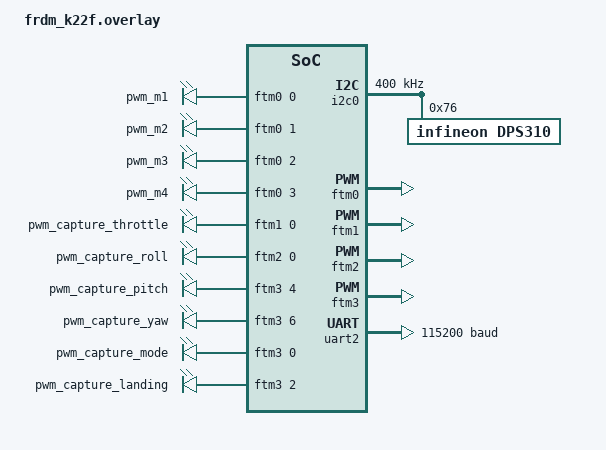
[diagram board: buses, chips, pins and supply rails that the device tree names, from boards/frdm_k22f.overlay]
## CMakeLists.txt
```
# CMakeLists.txt for Zephyr Quadcopter Application
cmake_minimum_required(VERSION 3.20.0)

find_package(Zephyr REQUIRED HINTS $ENV{ZEPHYR_BASE})
project(quadcopter_flight_controller)

target_sources(app PRIVATE src/main.c src/pid_control.c)
target_sources_ifdef(CONFIG_FLIGHT_CTL_RC_IBUS app PRIVATE src/ibus.c)
```

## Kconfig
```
# Kconfig - Application Configuration
mainmenu "Zephyr Quadcopter Flight Controller Configuration"

config FLIGHT_CTL_HAS_BARO
    bool "Enable Barometer and Altitude Control Subsystem"
    default n
    select SENSOR
    select DPS310
    help
      Enables the Infineon DPS310 barometer device binding, relative altitude 
      estimation, Z-axis PID tracking, and the automated landing assist state machine.
config FLIGHT_CTL_RC_IBUS
    bool "Use iBUS serial protocol for RC input (instead of PWM capture)"
    default n
    help
      When enabled, RC channel data is received via iBUS protocol on UART2
      (115200 baud, single wire). Supports up to 14 channels. When disabled,
      individual PWM capture inputs on FTM1/FTM2 are used for each channel.

config MAGNETOMETER_ENABLED
    bool "Enable Magnetometer and 9-Axis AHRS Fusion"
    default y
    help
      Enables reading magnetometer values from the FXOS8700 device and feeding
      them to the Mahony filter to compute a yaw drift-compensated orientation.

config MAG_CALIBRATION_BG_THREAD
    bool "Enable background magnetometer calibration thread"
    default y
    depends on MAGNETOMETER_ENABLED
    help
      Spawns a background thread at startup that gathers magnetometer data over 
      time to compute hard-iron offsets.

config MAG_CALIBRATION_RUNTIME
    bool "Enable runtime magnetometer calibration via shell command"
    default y
    depends on MAGNETOMETER_ENABLED
    select SHELL
    help
      Enables the 'mag_calib' shell command to trigger magnetometer
      calibration at runtime.

config PID_RATE_MOTOR_LIMIT
    int "PID Rate Loops Motor Output Limit"
    default 400
    help
      Clamps the output of the rate (inner) PID loops (Roll/Pitch/Yaw) to this value.
      Limits the maximum correction applied directly to the motor ESC pulses in microseconds.
      Set to 0 to disable.

config PID_ANGLE_RATE_LIMIT
    int "PID Angle Loops Target Rate Limit"
    default 200
    help
      Clamps the output of the angle (outer) PID loops to this value.
      Limits the target angular rate (in degrees per second) sent to the rate loops.
      Set to 0 to disable.

config PID_ALTITUDE_THROTTLE_LIMIT
    int "PID Altitude Loop Throttle Offset Limit"
    default 200
    help
      Clamps the output of the altitude PID loop to this value.
      Limits the maximum throttle adjustment offset (in microseconds) added to base hover throttle.
      Set to 0 to disable.

source "Kconfig.zephyr"
```

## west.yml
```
manifest:
  remotes:
    - name: zephyrproject-rtos
      url-base: https://github.com/zephyrproject-rtos

  projects:
    - name: zephyr
      remote: zephyrproject-rtos
      revision: 7f372bfc28a895f2b7641c1fc80f19f607e30e23 # Matches current workspace version (v4.4.0 tag/branch)
      import:
        # Import Zephyr's standard modules list, but limit downloading to
        # only the dependencies required for this board and application.
        name-allowlist:
          - cmsis_6        # Required for Cortex-M CMSIS core wrapper headers
          - cmsis-dsp      # Required for CMSIS-DSP fast math and PID control
          - hal_nxp        # Required for Kinetis clock and pin configurations
          - mcux-sdk-ng    # MCUXpresso SDK for NXP peripherals

  self:
    path: quad-app
```

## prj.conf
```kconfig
# Core Kernel Tuning
CONFIG_PRINTK=y
CONFIG_CBPRINTF_FP_SUPPORT=y
CONFIG_FPU=y
CONFIG_NUM_PREEMPT_PRIORITIES=15
CONFIG_MAIN_STACK_SIZE=2048

# Hardware Drivers
CONFIG_I2C=y
CONFIG_PWM=y
CONFIG_PWM_CAPTURE=y

# FRDM-STBC-AGM01 Shield Drivers
CONFIG_SENSOR=y
CONFIG_FXOS8700=y
CONFIG_FXAS21002=y

# Top-level master switch for altitude features (Set to y if using Baro)
CONFIG_FLIGHT_CTL_HAS_BARO=n

# Defer logging tasks to background queues to protect the 400Hz path
CONFIG_LOG=y
CONFIG_LOG_MODE_DEFERRED=y
CONFIG_LOG_BUFFER_SIZE=4096

# CMSIS-DSP Acceleration
CONFIG_CMSIS_DSP=y
CONFIG_CMSIS_DSP_CONTROLLER=y
CONFIG_CMSIS_DSP_FASTMATH=y
```

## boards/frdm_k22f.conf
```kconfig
CONFIG_I2C=y
CONFIG_SYS_CLOCK_HW_CYCLES_PER_SEC=72000000
CONFIG_SOC_SERIES_KINETIS_K2X=y
CONFIG_OSC_LOW_POWER=y
CONFIG_FXAS21002=y
CONFIG_FXAS21002_TRIGGER_OWN_THREAD=y
CONFIG_FXOS8700=y
CONFIG_FXOS8700_MODE_HYBRID=y
CONFIG_FXOS8700_TEMP=y
CONFIG_FXOS8700_TRIGGER_OWN_THREAD=y
```

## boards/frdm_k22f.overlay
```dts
/ {
    chosen {
        zephyr,console = &uart1;
        zephyr,shell-uart = &uart1;
        quad-ibus-uart = &uart2;
        flt_ctl,gyro = &fxas21002_frdm_stbc_agm01;
        flt_ctl,accel = &fxos8700;
        flt_ctl,baro = &dps310;
    };

    /* Define convenient aliases for our 4 quadcopter motors and RC inputs */
    aliases {
        motor-front-left  = &pwm_m1;
        motor-front-right = &pwm_m2;
        motor-rear-left   = &pwm_m3;
        motor-rear-right  = &pwm_m4;
        rc-throttle       = &pwm_capture_throttle;
        rc-roll           = &pwm_capture_roll;
        rc-pitch          = &pwm_capture_pitch;
        rc-yaw            = &pwm_capture_yaw;
        rc-mode           = &pwm_capture_mode;
        rc-landing        = &pwm_capture_landing;
    };

    quad_motors {
        compatible = "pwm-leds";
        pwm_m1: motor_1 {
            pwms = <&ftm0 0 PWM_HZ(400) PWM_POLARITY_NORMAL>; // PTC1 (FTM0_CH0)
        };
        pwm_m2: motor_2 {
            pwms = <&ftm0 1 PWM_HZ(400) PWM_POLARITY_NORMAL>; // PTC2 (FTM0_CH1)
        };
        pwm_m3: motor_3 {
            pwms = <&ftm0 2 PWM_HZ(400) PWM_POLARITY_NORMAL>; // PTC3 (FTM0_CH2)
        };
        pwm_m4: motor_4 {
            pwms = <&ftm0 3 PWM_HZ(400) PWM_POLARITY_NORMAL>; // PTC4 (FTM0_CH3)
        };
    };

    rc_inputs {
        compatible = "pwm-leds";
        /* FTM1_CH0 - Mapped to Pin PTA12 for Throttle Input Capture */
        pwm_capture_throttle: rx_ch1 {
            pwms = <&ftm1 0 PWM_USEC(2000) PWM_POLARITY_NORMAL>;
        };
        /* FTM2_CH0 - Mapped to Pin PTB18 for Roll Input Capture */
        pwm_capture_roll: rx_ch2 {
            pwms = <&ftm2 0 PWM_USEC(2000) PWM_POLARITY_NORMAL>;
        };
        /* FTM3_CH4 - Mapped to Pin PTC8 for Pitch Input Capture */
        pwm_capture_pitch: rx_ch3 {
            pwms = <&ftm3 4 PWM_USEC(2000) PWM_POLARITY_NORMAL>;
        };
        /* FTM3_CH6 - Mapped to Pin PTC10 for Yaw Input Capture */
        pwm_capture_yaw: rx_ch4 {
            pwms = <&ftm3 6 PWM_USEC(2000) PWM_POLARITY_NORMAL>;
        };
        /* FTM3_CH0 - Mapped to Pin PTD0 for Mode Switch Input Capture */
        pwm_capture_mode: rx_ch5 {
            pwms = <&ftm3 0 PWM_USEC(2000) PWM_POLARITY_NORMAL>;
        };
        /* FTM3_CH2 - Mapped to Pin PTD2 for Landing Switch Input Capture */
        pwm_capture_landing: rx_ch6 {
            pwms = <&ftm3 2 PWM_USEC(2000) PWM_POLARITY_NORMAL>;
        };
    };
};

/* Multi-Group Pin Routing Profiles using verified macro naming schemas */
&pinctrl {
    ftm0_default: ftm0_default {
        group0 {
            pinmux = <FTM0_CH0_PTC1>;
            drive-strength = "low";
            slew-rate = "fast";
        };
        group1 {
            pinmux = <FTM0_CH1_PTC2>;
            drive-strength = "low";
            slew-rate = "fast";
        };
        group2 {
            pinmux = <FTM0_CH2_PTC3>;
            drive-strength = "low";
            slew-rate = "fast";
        };
        group3 {
            pinmux = <FTM0_CH3_PTC4>;
            drive-strength = "low";
            slew-rate = "fast";
        };
    };

    ftm1_default: ftm1_default {
        group0 {
            pinmux = <FTM1_CH0_PTA12>;
            drive-strength = "low";
            slew-rate = "fast";
            bias-pull-up; /* Pull-up enabled specifically for input signal tracking */
        };
    };

    ftm2_default: ftm2_default {
        group0 {
            pinmux = <FTM2_CH0_PTB18>;
            drive-strength = "low";
            slew-rate = "fast";
            bias-pull-up; /* Pull-up enabled specifically for input signal tracking */
        };
    };

    ftm3_default: ftm3_default {
        group0 {
            pinmux = <FTM3_CH0_PTD0>;
            drive-strength = "low";
            slew-rate = "fast";
            bias-pull-up; /* Pull-up enabled specifically for input signal tracking */
        };
        group1 {
            pinmux = <FTM3_CH4_PTC8>;
            drive-strength = "low";
            slew-rate = "fast";
            bias-pull-up;
        };
        group2 {
            pinmux = <FTM3_CH6_PTC10>;
            drive-strength = "low";
            slew-rate = "fast";
            bias-pull-up;
        };
        group3 {
            pinmux = <FTM3_CH2_PTD2>;
            drive-strength = "low";
            slew-rate = "fast";
            bias-pull-up;
        };
    };
};

&i2c0 {
    status = "okay";
    pinctrl-0 = <&i2c0_default>;
    pinctrl-names = "default";
    clock-frequency = <I2C_BITRATE_FAST>; // 400kHz

    dps310: dps310@76 {
        compatible = "infineon,dps310";
        reg = <0x76>;
        status = "okay";
    };
};

/* FlexTimer Blocks updated for Zephyr 3-Cell PWM Driver Compatibility */
&ftm0 {
    status = "okay";
    compatible = "nxp,ftm-pwm";
    clock-source = "system";
    #pwm-cells = <3>;
    pinctrl-0 = <&ftm0_default>;
    pinctrl-names = "default";
};

&ftm1 {
    status = "okay";
    compatible = "nxp,ftm-pwm";
    clock-source = "system";
    #pwm-cells = <3>;
    pinctrl-0 = <&ftm1_default>;
    pinctrl-names = "default";
};

&ftm2 {
    status = "okay";
    compatible = "nxp,ftm-pwm";
    clock-source = "system";
    #pwm-cells = <3>;
    pinctrl-0 = <&ftm2_default>;
    pinctrl-names = "default";
};

&ftm3 {
    status = "okay";
    reg = <0x40026000 0x98>; // OVERRIDE: Fix upstream Zephyr bug where FTM3 address is wrong for K22F
    compatible = "nxp,ftm-pwm";
    clock-source = "system";
    #pwm-cells = <3>;
    pinctrl-0 = <&ftm3_default>;
    pinctrl-names = "default";
};

/* iBUS RC receiver UART (115200 baud on PTD2/RX, PTD3/TX) */
&uart2 {
    status = "okay";
    current-speed = <115200>;
};
```

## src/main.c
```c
#include <zephyr/kernel.h>
#include <zephyr/device.h>
#include <zephyr/drivers/sensor.h>
#include <zephyr/drivers/pwm.h>
#include <zephyr/logging/log.h>
#include <math.h>

#include "mahony.h"
#include "pid_control.h"

#if IS_ENABLED(CONFIG_CMSIS_DSP)
#include <arm_math.h>
#endif
#ifndef M_PI
#define M_PI 3.14159265358979323846f
#endif
#if IS_ENABLED(CONFIG_FLIGHT_CTL_RC_IBUS)
#include "ibus.h"
#endif

LOG_MODULE_REGISTER(flight_blackbox, CONFIG_LOG_DEFAULT_LEVEL);

#define FLIGHT_LOOP_PRIORITY   -1  /* High-priority cooperative thread */
#define FLIGHT_LOOP_PERIOD_MS  2.5f
#define DT_SEC                 0.0025f

#define MOTOR_MIN_PULSE_US     1000
#define MOTOR_MAX_PULSE_US     2000
#define BASE_HOVER_THROTTLE    1450

#define DESCENT_RATE_MPS       0.2f
#define LANDING_THRESHOLD_M    0.1f  

typedef enum {
    STATE_DISARMED,
    STATE_MANUAL_FLYING,
    STATE_ALT_HOLD,
    STATE_LANDING
} flight_state_t;

static flight_state_t current_state = STATE_MANUAL_FLYING;

static pid_controller_t roll_pid;
static pid_controller_t pitch_pid;
static pid_controller_t yaw_pid;
static pid_controller_t angle_pid_roll;
static pid_controller_t angle_pid_pitch;

typedef enum {
    FLIGHT_MODE_ACRO,
    FLIGHT_MODE_ANGLE,
    FLIGHT_MODE_HORIZON
} flight_mode_t;

static flight_mode_t current_flight_mode = FLIGHT_MODE_ACRO;
static float est_roll  = 0.0f;
static float est_pitch = 0.0f;

#if IS_ENABLED(CONFIG_FLIGHT_CTL_HAS_BARO)
static pid_controller_t alt_pid;
static float target_altitude      = 1.5f; 
static float current_alt          = 0.0f;
#endif

#if IS_ENABLED(CONFIG_MAGNETOMETER_ENABLED)
static volatile float raw_mag_x = 0.0f;
static volatile float raw_mag_y = 0.0f;
static volatile float raw_mag_z = 0.0f;

static float mag_offset_x = 0.0f;
static float mag_offset_y = 0.0f;
static float mag_offset_z = 0.0f;
static bool mag_calibrated = false;

static struct k_sem mag_calib_sem;
static volatile bool mag_calibrating = false;
#endif

static float target_throttle = (float)MOTOR_MIN_PULSE_US;
static float target_roll     = 0.0f;
static float target_pitch    = 0.0f;
static float target_yaw      = 0.0f;

static const struct pwm_dt_spec motor_fl = PWM_DT_SPEC_GET(DT_ALIAS(motor_front_left));
static const struct pwm_dt_spec motor_fr = PWM_DT_SPEC_GET(DT_ALIAS(motor_front_right));
static const struct pwm_dt_spec motor_rl = PWM_DT_SPEC_GET(DT_ALIAS(motor_rear_left));
static const struct pwm_dt_spec motor_rr = PWM_DT_SPEC_GET(DT_ALIAS(motor_rear_right));

#if IS_ENABLED(CONFIG_FLIGHT_CTL_RC_IBUS)
static const struct device *const ibus_uart = DEVICE_DT_GET(DT_CHOSEN(quad_ibus_uart));
#else
static const struct pwm_dt_spec rc_throttle = PWM_DT_SPEC_GET(DT_ALIAS(rc_throttle));
static const struct pwm_dt_spec rc_roll     = PWM_DT_SPEC_GET(DT_ALIAS(rc_roll));
static const struct pwm_dt_spec rc_pitch    = PWM_DT_SPEC_GET(DT_ALIAS(rc_pitch));
static const struct pwm_dt_spec rc_yaw      = PWM_DT_SPEC_GET(DT_ALIAS(rc_yaw));
static const struct pwm_dt_spec rc_mode     = PWM_DT_SPEC_GET(DT_ALIAS(rc_mode));
static const struct pwm_dt_spec rc_landing  = PWM_DT_SPEC_GET(DT_ALIAS(rc_landing));
#endif

static const struct device *const gyro_dev  = DEVICE_DT_GET(DT_CHOSEN(flt_ctl_gyro));
static const struct device *const accel_dev = DEVICE_DT_GET(DT_CHOSEN(flt_ctl_accel));

#if IS_ENABLED(CONFIG_FLIGHT_CTL_HAS_BARO)
static const struct device *const baro_dev  = DEVICE_DT_GET(DT_CHOSEN(flt_ctl_baro));
#endif


#if !IS_ENABLED(CONFIG_FLIGHT_CTL_RC_IBUS)
static volatile int64_t last_rc_update_time = 0;

static void rc_capture_cb(const struct device *dev, uint32_t channel,
                          uint32_t period_cycles, uint32_t pulse_cycles,
                          int status, void *user_data)
{
    if (status == 0) {
        volatile uint16_t *target_val = (volatile uint16_t *)user_data;
        uint64_t pulse_us;
        if (pwm_cycles_to_usec(dev, channel, pulse_cycles, &pulse_us) == 0) {
            if (pulse_us >= MOTOR_MIN_PULSE_US && pulse_us <= MOTOR_MAX_PULSE_US) {
                *target_val = (uint16_t)pulse_us;
                last_rc_update_time = k_uptime_get();
            }
        }
    }
}
#endif

#if IS_ENABLED(CONFIG_MAGNETOMETER_ENABLED)
void mag_calibration_thread(void *p1, void *p2, void *p3)
{
    k_sem_init(&mag_calib_sem, 0, 1);

#if IS_ENABLED(CONFIG_MAG_CALIBRATION_BG_THREAD)
    k_sleep(K_MSEC(3000));
    k_sem_give(&mag_calib_sem);
#endif

    while (1) {
        k_sem_take(&mag_calib_sem, K_FOREVER);
        mag_calibrating = true;
        LOG_INF("Magnetometer calibration started. Please rotate the device slowly in all directions...");

        float m_min[3] = {999999.0f, 999999.0f, 999999.0f};
        float m_max[3] = {-999999.0f, -999999.0f, -999999.0f};

        for (int i = 0; i < 300; i++) {
            float mx = raw_mag_x;
            float my = raw_mag_y;
            float mz = raw_mag_z;

            if (mx < m_min[0]) m_min[0] = mx;
            if (my < m_min[1]) m_min[1] = my;
            if (mz < m_min[2]) m_min[2] = mz;

            if (mx > m_max[0]) m_max[0] = mx;
            if (my > m_max[1]) m_max[1] = my;
            if (mz > m_max[2]) m_max[2] = mz;

            k_msleep(50);
        }

        float diff_x = m_max[0] - m_min[0];
        float diff_y = m_max[1] - m_min[1];
        float diff_z = m_max[2] - m_min[2];

        if (diff_x > 0.02f && diff_y > 0.02f && diff_z > 0.02f) {
            mag_offset_x = (m_max[0] + m_min[0]) / 2.0f;
            mag_offset_y = (m_max[1] + m_min[1]) / 2.0f;
            mag_offset_z = (m_max[2] + m_min[2]) / 2.0f;
            mag_calibrated = true;
            LOG_INF("Magnetometer calibration complete! Offsets: X=%f, Y=%f, Z=%f",
                    (double)mag_offset_x, (double)mag_offset_y, (double)mag_offset_z);
        } else {
            LOG_WRN("Magnetometer calibration failed: insufficient movement. Offsets unchanged.");
        }
        mag_calibrating = false;
    }
}

K_THREAD_DEFINE(mag_calib_id, 1024, mag_calibration_thread, NULL, NULL, NULL,
                5, 0, 0);

#if IS_ENABLED(CONFIG_MAG_CALIBRATION_RUNTIME)
#include <zephyr/shell/shell.h>

static int cmd_mag_calib(const struct shell *sh, size_t argc, char **argv)
{
    if (mag_calibrating) {
        shell_print(sh, "Magnetometer calibration is already in progress.");
        return -EBUSY;
    }
    shell_print(sh, "Triggering magnetometer calibration...");
    k_sem_give(&mag_calib_sem);
    return 0;
}

SHELL_CMD_REGISTER(mag_calib, NULL, "Trigger magnetometer calibration", cmd_mag_calib);
#endif
#endif

void flight_control_thread(void *p1, void *p2, void *p3)
{
    struct sensor_value gyro_data[3];
    struct sensor_value accel_data[3];
    float roll_rate, pitch_rate, yaw_rate;
    float accel_x, accel_y, accel_z;
    uint32_t log_divider = 0;

#if !IS_ENABLED(CONFIG_FLIGHT_CTL_RC_IBUS)
    static volatile uint16_t rc_throttle_val = 1000;
    static volatile uint16_t rc_roll_val     = 1500;
    static volatile uint16_t rc_pitch_val    = 1500;
    static volatile uint16_t rc_yaw_val      = 1500;
    static volatile uint16_t rc_mode_val     = 1500;
    static volatile uint16_t rc_landing_val  = 1000;
#endif

    if (!device_is_ready(motor_fl.dev) || !device_is_ready(motor_fr.dev) ||
        !device_is_ready(motor_rl.dev) || !device_is_ready(motor_rr.dev)) {
        LOG_ERR("PWM motor outputs are not ready!");
        return;
    }
    if (!device_is_ready(gyro_dev) || !device_is_ready(accel_dev)) {
        LOG_ERR("NXP Motion Sensor Shield IMU units are not ready!");
        return;
    }
#if IS_ENABLED(CONFIG_FLIGHT_CTL_HAS_BARO)
    if (!device_is_ready(baro_dev)) {
        LOG_ERR("DPS310 Barometer sensor node is not ready!");
        return;
    }
#endif
#if IS_ENABLED(CONFIG_FLIGHT_CTL_RC_IBUS)
    if (ibus_init(ibus_uart) != 0) {
        LOG_ERR("iBUS receiver failed to initialize!");
        return;
    }
#else
    pwm_flags_t cap_flags = PWM_POLARITY_NORMAL | PWM_CAPTURE_TYPE_PULSE | PWM_CAPTURE_MODE_CONTINUOUS;

    pwm_configure_capture(rc_throttle.dev, rc_throttle.channel, cap_flags, rc_capture_cb, (void*)&rc_throttle_val);
    pwm_enable_capture(rc_throttle.dev, rc_throttle.channel);

    pwm_configure_capture(rc_roll.dev, rc_roll.channel, cap_flags, rc_capture_cb, (void*)&rc_roll_val);
    pwm_enable_capture(rc_roll.dev, rc_roll.channel);

    pwm_configure_capture(rc_pitch.dev, rc_pitch.channel, cap_flags, rc_capture_cb, (void*)&rc_pitch_val);
    pwm_enable_capture(rc_pitch.dev, rc_pitch.channel);

    pwm_configure_capture(rc_yaw.dev, rc_yaw.channel, cap_flags, rc_capture_cb, (void*)&rc_yaw_val);
    pwm_enable_capture(rc_yaw.dev, rc_yaw.channel);

    pwm_configure_capture(rc_mode.dev, rc_mode.channel, cap_flags, rc_capture_cb, (void*)&rc_mode_val);
    pwm_enable_capture(rc_mode.dev, rc_mode.channel);

    pwm_configure_capture(rc_landing.dev, rc_landing.channel, cap_flags, rc_capture_cb, (void*)&rc_landing_val);
    pwm_enable_capture(rc_landing.dev, rc_landing.channel);
#endif

    pid_init(&roll_pid, 1.2f, 0.05f, 0.12f, DT_SEC, (float)CONFIG_PID_RATE_MOTOR_LIMIT);
    pid_init(&pitch_pid, 1.2f, 0.05f, 0.12f, DT_SEC, (float)CONFIG_PID_RATE_MOTOR_LIMIT);
    pid_init(&yaw_pid, 2.0f, 0.10f, 0.05f, DT_SEC, (float)CONFIG_PID_RATE_MOTOR_LIMIT);

    pid_init(&angle_pid_roll, 4.0f, 0.05f, 0.1f, DT_SEC, (float)CONFIG_PID_ANGLE_RATE_LIMIT);
    pid_init(&angle_pid_pitch, 4.0f, 0.05f, 0.1f, DT_SEC, (float)CONFIG_PID_ANGLE_RATE_LIMIT);

#if IS_ENABLED(CONFIG_FLIGHT_CTL_HAS_BARO)
    pid_init(&alt_pid, 2.5f, 0.15f, 0.45f, DT_SEC, (float)CONFIG_PID_ALTITUDE_THROTTLE_LIMIT);
#endif

    LOG_INF("Starting IMU Gyro Calibration. Please keep the drone perfectly still...");
    float gyro_bias_roll = 0.0f, gyro_bias_pitch = 0.0f, gyro_bias_yaw = 0.0f;
    const int calib_samples = 200; // 2 seconds at 10ms per loop
    for (int i = 0; i < calib_samples; i++) {
        sensor_sample_fetch(gyro_dev);
        sensor_channel_get(gyro_dev, SENSOR_CHAN_GYRO_XYZ, gyro_data);
        gyro_bias_roll  += (float)sensor_value_to_double(&gyro_data[0]);
        gyro_bias_pitch += (float)sensor_value_to_double(&gyro_data[1]);
        gyro_bias_yaw   += (float)sensor_value_to_double(&gyro_data[2]);

        // Also fetch accelerometer to allow the Mahony filter to align with gravity
        sensor_sample_fetch(accel_dev);
        sensor_channel_get(accel_dev, SENSOR_CHAN_ACCEL_XYZ, accel_data);
        float ax = (float)sensor_value_to_double(&accel_data[0]);
        float ay = (float)sensor_value_to_double(&accel_data[1]);
        float az = (float)sensor_value_to_double(&accel_data[2]);
        mahony_update(0.0f, 0.0f, 0.0f, ax, ay, az, 0.0f, 0.0f, 0.0f, 0.01f);

        k_sleep(K_MSEC(10));
    }
    gyro_bias_roll  /= (float)calib_samples;
    gyro_bias_pitch /= (float)calib_samples;
    gyro_bias_yaw   /= (float)calib_samples;
    LOG_INF("Calibration Complete. Biases - Roll: %f, Pitch: %f, Yaw: %f", (double)gyro_bias_roll, (double)gyro_bias_pitch, (double)gyro_bias_yaw);

    LOG_INF("Quadcopter Flight Control Workspace Online. Starting loop...");

    while (1) {
        int64_t start_time = k_uptime_get();

        uint16_t mode_switch_val = 1500;
        uint16_t landing_switch_val = 1000;

        /* 1. PILOT RADIO RECEIVER INPUT */
#if IS_ENABLED(CONFIG_FLIGHT_CTL_RC_IBUS)
        /* iBUS: All channels from a single UART stream */
        target_throttle = (float)ibus_channel(2);                    /* CH3 = Throttle */
        target_roll     = ((float)ibus_channel(0) - 1500.0f) * 0.1f; /* CH1 = Roll     */
        target_pitch    = ((float)ibus_channel(1) - 1500.0f) * 0.1f; /* CH2 = Pitch    */
        target_yaw      = ((float)ibus_channel(3) - 1500.0f) * 0.1f; /* CH4 = Yaw      */
        mode_switch_val = ibus_channel(4);                           /* CH5 = Mode     */
        landing_switch_val = ibus_channel(5);                        /* CH6 = Landing  */

        /* iBUS Failsafe: check for link loss */
        if (!ibus_is_active()) {
            if (current_state == STATE_MANUAL_FLYING || current_state == STATE_ALT_HOLD) {
                LOG_WRN("Failsafe triggered! iBUS signal lost.");
                current_state = STATE_LANDING;
            }
        }
#else
        /* PWM Capture (Continuous Interrupt-Driven): Read from volatile memory */
        target_throttle = (float)rc_throttle_val;
        target_roll     = ((float)rc_roll_val - 1500.0f) * 0.1f; 
        target_pitch    = ((float)rc_pitch_val - 1500.0f) * 0.1f;
        target_yaw      = ((float)rc_yaw_val - 1500.0f) * 0.1f;
        mode_switch_val = rc_mode_val;
        landing_switch_val = rc_landing_val;

        /* Failsafe Check */
        if (k_uptime_get() - last_rc_update_time > 500) {
            if (current_state == STATE_MANUAL_FLYING || current_state == STATE_ALT_HOLD) {
                LOG_WRN("Failsafe triggered! RC signal lost.");
                current_state = STATE_LANDING;
            }
        }
#endif

        if (landing_switch_val > 1700) {
            if (current_state == STATE_MANUAL_FLYING || current_state == STATE_ALT_HOLD) {
                LOG_INF("Landing switch triggered.");
                current_state = STATE_LANDING;
            }
        }

        /* 2. IMU SENSOR FETCH (FXAS21002 GYRO & FXOS8700 ACCEL) */
        sensor_sample_fetch(gyro_dev);
        sensor_channel_get(gyro_dev, SENSOR_CHAN_GYRO_XYZ, gyro_data);
        float gx = (float)sensor_value_to_double(&gyro_data[0]) - gyro_bias_roll;
        float gy = (float)sensor_value_to_double(&gyro_data[1]) - gyro_bias_pitch;
        float gz = (float)sensor_value_to_double(&gyro_data[2]) - gyro_bias_yaw;

        sensor_sample_fetch(accel_dev);
        sensor_channel_get(accel_dev, SENSOR_CHAN_ACCEL_XYZ, accel_data);
        accel_x = (float)sensor_value_to_double(&accel_data[0]);
        accel_y = (float)sensor_value_to_double(&accel_data[1]);
        accel_z = (float)sensor_value_to_double(&accel_data[2]);

        float mx = 0.0f, my = 0.0f, mz = 0.0f;
#if IS_ENABLED(CONFIG_MAGNETOMETER_ENABLED)
        struct sensor_value mag_data[3];
        sensor_channel_get(accel_dev, SENSOR_CHAN_MAGN_XYZ, mag_data);
        raw_mag_x = (float)sensor_value_to_double(&mag_data[0]);
        raw_mag_y = (float)sensor_value_to_double(&mag_data[1]);
        raw_mag_z = (float)sensor_value_to_double(&mag_data[2]);

        if (mag_calibrated) {
            mx = raw_mag_x - mag_offset_x;
            my = raw_mag_y - mag_offset_y;
            mz = raw_mag_z - mag_offset_z;
        } else {
            mx = raw_mag_x;
            my = raw_mag_y;
            mz = raw_mag_z;
        }
#endif

        /* Mahony Filter expects rad/s */
        mahony_update(gx, gy, gz, accel_x, accel_y, accel_z, mx, my, mz, DT_SEC);
        mahony_get_euler(&est_roll, &est_pitch);

        /* Convert to deg/s for the rate PID controllers */
        roll_rate  = gx * (180.0f / M_PI);
        pitch_rate = gy * (180.0f / M_PI);
        yaw_rate   = gz * (180.0f / M_PI);

        /* 3. DISARMED CHECK */
        if (current_state == STATE_DISARMED) {
            /* Reset all integrators to prevent windup while grounded */
#if IS_ENABLED(CONFIG_CMSIS_DSP)
            arm_pid_reset_f32(&roll_pid);
            arm_pid_reset_f32(&pitch_pid);
            arm_pid_reset_f32(&yaw_pid);
#else
            roll_pid.integrator = 0.0f;
            pitch_pid.integrator = 0.0f;
            yaw_pid.integrator = 0.0f;
#endif
            /* Force all motors to idle — no PID output can override this */
            pwm_set_pulse_dt(&motor_fl, PWM_USEC(MOTOR_MIN_PULSE_US));
            pwm_set_pulse_dt(&motor_fr, PWM_USEC(MOTOR_MIN_PULSE_US));
            pwm_set_pulse_dt(&motor_rl, PWM_USEC(MOTOR_MIN_PULSE_US));
            pwm_set_pulse_dt(&motor_rr, PWM_USEC(MOTOR_MIN_PULSE_US));

            /* Downsampled disarmed log */
            if (++log_divider >= 10) {
                log_divider = 0;
                LOG_INF("ST:DISARMED | Motors idle");
            }

            int64_t elapsed = k_uptime_get() - start_time;
            if (elapsed < (int64_t)FLIGHT_LOOP_PERIOD_MS) {
                k_msleep((int32_t)(FLIGHT_LOOP_PERIOD_MS - (float)elapsed));
            }
            continue;
        }

        /* 4. CONDITIONAL ALTITUDE CONTROL / LANDING ASSIST STATE MACHINE */
        float dynamic_throttle = target_throttle;

#if IS_ENABLED(CONFIG_FLIGHT_CTL_HAS_BARO)
        struct sensor_value press_val;
        sensor_sample_fetch(baro_dev);
        sensor_channel_get(baro_dev, SENSOR_CHAN_PRESS, &press_val);
        float pressure_pa = (float)sensor_value_to_double(&press_val);

        current_alt = (44330.77f * (1.0f - powf((pressure_pa / 101325.0f), 0.190263f)));

        if (current_state == STATE_LANDING) {
            target_altitude -= DESCENT_RATE_MPS * DT_SEC;
            if (current_alt <= LANDING_THRESHOLD_M) {
                current_state = STATE_DISARMED;
            }
        }

        if (current_state == STATE_ALT_HOLD || current_state == STATE_LANDING) {
            float alt_output = pid_update(&alt_pid, target_altitude, current_alt, DT_SEC);
            dynamic_throttle = (float)BASE_HOVER_THROTTLE + alt_output;
        }
#endif

        /* 4. FLIGHT MODE LOGIC */
        if (mode_switch_val < 1300) {
            current_flight_mode = FLIGHT_MODE_ACRO;
        } else if (mode_switch_val < 1700) {
            current_flight_mode = FLIGHT_MODE_ANGLE;
        } else {
            current_flight_mode = FLIGHT_MODE_HORIZON;
        }

        float target_roll_rate  = 0.0f;
        float target_pitch_rate = 0.0f;

        if (current_flight_mode == FLIGHT_MODE_ACRO) {
            /* In Acro, stick input is directly the target rate */
            target_roll_rate  = target_roll;
            target_pitch_rate = target_pitch;
        } else if (current_flight_mode == FLIGHT_MODE_ANGLE) {
            /* In Angle, stick input is the target angle (e.g. max 45 degrees) */
            /* stick target_roll is scaled -50 to +50 approx. Scale to ±45 deg */
            float target_roll_angle  = target_roll * 0.9f;
            float target_pitch_angle = target_pitch * 0.9f;

            target_roll_rate  = pid_update(&angle_pid_roll, target_roll_angle, est_roll, DT_SEC);
            target_pitch_rate = pid_update(&angle_pid_pitch, target_pitch_angle, est_pitch, DT_SEC);
        } else if (current_flight_mode == FLIGHT_MODE_HORIZON) {
            float target_roll_angle  = target_roll * 0.9f;
            float target_pitch_angle = target_pitch * 0.9f;

            float angle_roll_rate  = pid_update(&angle_pid_roll, target_roll_angle, est_roll, DT_SEC);
            float angle_pitch_rate = pid_update(&angle_pid_pitch, target_pitch_angle, est_pitch, DT_SEC);

            /* Blend based on stick deflection. target_roll is -50 to 50 approx. */
            float blend_roll  = fabsf(target_roll) / 50.0f;
            if (blend_roll > 1.0f) blend_roll = 1.0f;
            
            float blend_pitch = fabsf(target_pitch) / 50.0f;
            if (blend_pitch > 1.0f) blend_pitch = 1.0f;

            target_roll_rate  = (1.0f - blend_roll) * angle_roll_rate + blend_roll * target_roll;
            target_pitch_rate = (1.0f - blend_pitch) * angle_pitch_rate + blend_pitch * target_pitch;
        }

        /* 5. RATE CORES AND QUADCOPTER MOTOR MIXER (X-CONFIGURATION) */
        float roll_output  = pid_update(&roll_pid, target_roll_rate, roll_rate, DT_SEC);
        float pitch_output = pid_update(&pitch_pid, target_pitch_rate, pitch_rate, DT_SEC);
        float yaw_output   = pid_update(&yaw_pid, target_yaw, yaw_rate, DT_SEC);

        float m1_fl = dynamic_throttle + roll_output - pitch_output - yaw_output;
        float m2_fr = dynamic_throttle - roll_output - pitch_output + yaw_output;
        float m3_rl = dynamic_throttle + roll_output + pitch_output + yaw_output;
        float m4_rr = dynamic_throttle - roll_output + pitch_output - yaw_output;

        uint32_t fl_pulse = (uint32_t)CLAMP(m1_fl, MOTOR_MIN_PULSE_US, MOTOR_MAX_PULSE_US);
        uint32_t fr_pulse = (uint32_t)CLAMP(m2_fr, MOTOR_MIN_PULSE_US, MOTOR_MAX_PULSE_US);
        uint32_t rl_pulse = (uint32_t)CLAMP(m3_rl, MOTOR_MIN_PULSE_US, MOTOR_MAX_PULSE_US);
        uint32_t rr_pulse = (uint32_t)CLAMP(m4_rr, MOTOR_MIN_PULSE_US, MOTOR_MAX_PULSE_US);

        pwm_set_pulse_dt(&motor_fl, PWM_USEC(fl_pulse));
        pwm_set_pulse_dt(&motor_fr, PWM_USEC(fr_pulse));
        pwm_set_pulse_dt(&motor_rl, PWM_USEC(rl_pulse));
        pwm_set_pulse_dt(&motor_rr, PWM_USEC(rr_pulse));

        /* 6. BLACKBOX LOGGING DOWN-SAMPLING (400Hz -> 40Hz) */
        if (++log_divider >= 10) {
            log_divider = 0;
            const char* mode_str = (current_flight_mode == FLIGHT_MODE_ACRO) ? "ACRO" :
                                   (current_flight_mode == FLIGHT_MODE_ANGLE) ? "ANGLE" : "HORIZON";
            const char* state_str = (current_state == STATE_DISARMED) ? "DISARMED" :
                                    (current_state == STATE_MANUAL_FLYING) ? "FLYING" :
                                    (current_state == STATE_ALT_HOLD) ? "ALTHOLD" :
                                    (current_state == STATE_LANDING) ? "LANDING" : "UNKNOWN";
#if IS_ENABLED(CONFIG_FLIGHT_CTL_HAS_BARO)
            LOG_INF("ST:%s %s | Alt:%.2fm (Tgt:%.2fm) | EstAng:(%.1f, %.1f) | Gyro:(%.1f, %.1f, %.1f) | Thr:%.0f",
                    state_str, mode_str, (double)current_alt, (double)target_altitude,
                    (double)est_roll, (double)est_pitch,
                    (double)roll_rate, (double)pitch_rate, (double)yaw_rate,
                    (double)dynamic_throttle);
#else
            LOG_INF("ST:%s %s | EstAng:(R:%.1f, P:%.1f) | Gyro:(R:%.1f, P:%.1f, Y:%.1f) | Thr:%.0f",
                    state_str, mode_str, (double)est_roll, (double)est_pitch,
                    (double)roll_rate, (double)pitch_rate,
                    (double)yaw_rate, (double)dynamic_throttle);
#endif
        }

        int64_t elapsed = k_uptime_get() - start_time;
        if (elapsed < (int64_t)FLIGHT_LOOP_PERIOD_MS) {
            k_msleep((int32_t)(FLIGHT_LOOP_PERIOD_MS - (float)elapsed));
        }
    }
}

K_THREAD_DEFINE(flight_ctl_id, 2048, flight_control_thread, NULL, NULL, NULL,
                FLIGHT_LOOP_PRIORITY, 0, 0);
```

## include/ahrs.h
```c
#ifndef ahrs_h
#define ahrs_h
#include <zephyr.h>
#include <drivers/sensor.h>
#include <stdio.h>
#include "MadgwickAHRS.h"

void RunAHRS(void);

#endif
```

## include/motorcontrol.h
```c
#ifndef motorcontrol_h
#define motorcontrol_h
#include <zephyr.h>
#include <sys/printk.h>
#include <device.h>
#include <drivers/pwm.h>

void RunMotorControl(void);

#endif
```

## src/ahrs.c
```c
#include "ahrs.h"
#include <devicetree.h>
#include <zephyr.h>
#include <drivers/sensor.h>
#include <stdio.h>
#include "MadgwickAHRS.h"
#include <logging/log.h>
#include <stdbool.h>

#define NUM_ACCEL 2
#define NUM_MAG 2
#define NUM_GYRO 1

LOG_MODULE_REGISTER(AHRS, CONFIG_SENSOR_LOG_LEVEL);

K_SEM_DEFINE(sem, 0, 1);	/* starts off "not available" */

#if !defined(CONFIG_SENSORFUSION_POLLING)
static void get_sample_trigger_handler(const struct device *dev,
			    struct sensor_trigger *trigger)
{
	if (sensor_sample_fetch(dev)) {
		printf("sensor_sample_fetch failed\n");
		return;
	}
}
#endif

void RunAHRS(void)
{
	// TODO: Ensure value doesn't become stale, somehow?
	// TODO: Move array initialization to preprocessor magic
	bool sensor_success = false;
	struct sensor_value accel[3];
	struct sensor_value mag[3];
	struct sensor_value gyro[3];
	const struct device *accels[NUM_ACCEL];
	const struct device *mags[NUM_MAG];
	const struct device *gyros[NUM_GYRO];
	accels[0] = device_get_binding(DT_LABEL(DT_INST(0, nxp_fxos8700)));
	accels[1] = device_get_binding(DT_LABEL(DT_INST(1, nxp_fxos8700)));
	mags[0] = accels[0];
	mags[1] = accels[1];
	gyros[0] = device_get_binding(DT_LABEL(DT_INST(0, nxp_fxas21002)));

	uint8_t dev_num;
	struct sensor_trigger trig;

	trig.type = SENSOR_TRIG_DATA_READY;
	trig.chan = SENSOR_CHAN_ACCEL_XYZ;
	for ( dev_num = 0; dev_num < NUM_ACCEL; dev_num++)  {
		LOG_DBG("Initializing Accelerometer %i", dev_num);
		if (accels[dev_num] == NULL) {
			printf("Could not get accelerometer device %i\n", dev_num);
			return;
		}

#if !defined(CONFIG_SENSORFUSION_POLLING)
		if (sensor_trigger_set(accels[dev_num], &trig, get_sample_trigger_handler)) {
			printf("Could not set trigger\n");
			return;
		}
#endif
	}

#ifdef CONFIG_SENSORFUSION_SEPARATE_MAG_ACCEL
	trig.type = SENSOR_TRIG_DATA_READY;
	trig.chan = SENSOR_CHAN_MAGN_XYZ;
#endif
	for ( dev_num = 0; dev_num < NUM_MAG; dev_num++)  {
		LOG_DBG("Initializing Magnetometer %i", dev_num);
		if (mags[dev_num] == NULL) {
			printf("Could not get magnetometer device %i\n", dev_num);
			return;
		}

#if defined(CONFIG_SENSORFUSION_SEPARATE_MAG_ACCEL) && !defined(CONFIG_SENSORFUSION_POLLING)
		if (sensor_trigger_set(mags[dev_num], &trig, get_sample_trigger_handler)) {
			printf("Could not set trigger\n");
			return;
		}
#endif
	}

	trig.type = SENSOR_TRIG_DATA_READY;
	trig.chan = SENSOR_CHAN_GYRO_XYZ;
	for ( dev_num = 0; dev_num < NUM_GYRO; dev_num++)  {
		LOG_DBG("Initializing Gyroscope %i", dev_num);
		if (gyros[dev_num] == NULL) {
			printf("Could not get gyroscope device %i\n", dev_num);
			return;
		}

#if !defined(CONFIG_SENSORFUSION_POLLING)
		if (sensor_trigger_set(gyros[dev_num], &trig, get_sample_trigger_handler)) {
			printf("Could not set trigger\n");
			return;
		}
#endif
	}

	LOG_DBG("Starting AHRS");

	while (1) {
		// TODO: Clear data ready if polling?
		// TODO: Synchronizing hardware data sampling may be very important to reduce drift?

		k_usleep(19530U); // 512 Hz

#ifdef CONFIG_SENSORFUSION_POLLING
		for ( dev_num = 0; dev_num < NUM_ACCEL; dev_num++)  {
			sensor_sample_fetch(accels[dev_num]);
		}
		for ( dev_num = 0; dev_num < NUM_MAG; dev_num++)  {
			sensor_sample_fetch(mags[dev_num]);
		}
		for ( dev_num = 0; dev_num < NUM_GYRO; dev_num++)  {
			sensor_sample_fetch(gyros[dev_num]);
		}
#endif
		sensor_success = false;
		for ( dev_num = 0; dev_num < NUM_ACCEL; dev_num++)  {
			if (sensor_channel_get(accels[dev_num], SENSOR_CHAN_ACCEL_XYZ, accel)) {
				LOG_ERR("Could not read from accelerometer device %i", dev_num);
			} else {
				sensor_success = true;
				break;
			}
			if (!sensor_success) {
				LOG_ERR("No accelorometer could be read");
			}
		}

		sensor_success = false;
		for ( dev_num = 0; dev_num < NUM_MAG; dev_num++)  {
			if (sensor_channel_get(mags[dev_num], SENSOR_CHAN_MAGN_XYZ, mag)) {
				LOG_ERR("Could not read from magnetometer device %i", dev_num);
			} else {
				sensor_success = true;
				break;
			}
			if (!sensor_success) {
				LOG_ERR("No magnetometer could be read");
			}
		}

		sensor_success = false;
		for ( dev_num = 0; dev_num < NUM_GYRO; dev_num++)  {
			if (sensor_channel_get(mags[dev_num], SENSOR_CHAN_MAGN_XYZ, gyro)) {
				LOG_ERR("Could not read from gyrometer device %i", dev_num);
			} else {
				sensor_success = true;
				break;
			}
			if (!sensor_success) {
				LOG_ERR("No gyrometer could be read");
			}
		}

		printf("AX=%10.6f AY=%10.6f AZ=%10.6f ",
			sensor_value_to_double(&accel[0]),
			sensor_value_to_double(&accel[1]),
			sensor_value_to_double(&accel[2]));
		printf("MX=%10.6f MY=%10.6f MZ=%10.6f ",
			sensor_value_to_double(&mag[0]),
			sensor_value_to_double(&mag[1]),
			sensor_value_to_double(&mag[2]));
		printf("GX=%10.3f GY=%10.3f GZ=%10.3f\n",
			sensor_value_to_double(&gyro[0]),
			sensor_value_to_double(&gyro[1]),
			sensor_value_to_double(&gyro[2]));
	}
}
```

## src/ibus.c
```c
/*
 * ibus.c - FlySky iBUS serial RC protocol driver
 *
 * iBUS Frame Format (32 bytes total):
 *   Byte 0:     0x20 (frame length = 32)
 *   Byte 1:     0x40 (command: channel data)
 *   Bytes 2-29: 14 channels, each as little-endian uint16_t
 *   Bytes 30-31: Checksum (little-endian), computed as
 *                0xFFFF - sum(bytes 0..29)
 *
 * Frames arrive at 115200 baud, approximately every 7ms (~140Hz).
 */

#include "ibus.h"

#include <zephyr/kernel.h>
#include <zephyr/drivers/uart.h>
#include <zephyr/logging/log.h>
#include <string.h>

LOG_MODULE_REGISTER(ibus, CONFIG_LOG_DEFAULT_LEVEL);

#define IBUS_FRAME_LEN    32
#define IBUS_HEADER_LEN   0x20
#define IBUS_HEADER_CMD   0x40
#define IBUS_CHANNEL_CENTER 1500

/* Timeout for considering the link lost */
#define IBUS_TIMEOUT_MS   500

/* Reception state machine */
static uint8_t rx_buf[IBUS_FRAME_LEN];
static uint8_t rx_idx;

/* Shared channel data (written from ISR, read from flight loop) */
static uint16_t channels[IBUS_MAX_CHANNELS];
static int64_t last_valid_frame_time;

static void ibus_process_frame(void)
{
	/* Validate header */
	if (rx_buf[0] != IBUS_HEADER_LEN || rx_buf[1] != IBUS_HEADER_CMD) {
		return;
	}

	/* Validate checksum: 0xFFFF - sum(bytes 0..29) == bytes 30..31 (LE) */
	uint16_t checksum = 0xFFFF;

	for (int i = 0; i < IBUS_FRAME_LEN - 2; i++) {
		checksum -= rx_buf[i];
	}

	uint16_t rx_checksum = (uint16_t)rx_buf[30] | ((uint16_t)rx_buf[31] << 8);

	if (checksum != rx_checksum) {
		return;
	}

	/* Extract channels (little-endian uint16_t pairs starting at byte 2) */
	for (int i = 0; i < IBUS_MAX_CHANNELS; i++) {
		uint16_t val = (uint16_t)rx_buf[2 + i * 2] |
			       ((uint16_t)rx_buf[3 + i * 2] << 8);

		/* Sanity-clamp to valid RC range */
		if (val >= 800 && val <= 2200) {
			channels[i] = val;
		}
	}

	last_valid_frame_time = k_uptime_get();
}

static void ibus_uart_isr(const struct device *dev, void *user_data)
{
	ARG_UNUSED(user_data);

	uart_irq_update(dev);

	while (uart_irq_rx_ready(dev)) {
		uint8_t byte;

		if (uart_fifo_read(dev, &byte, 1) != 1) {
			break;
		}

		if (rx_idx == 0 && byte != IBUS_HEADER_LEN) {
			/* Wait for frame start byte */
			continue;
		}

		rx_buf[rx_idx++] = byte;

		if (rx_idx >= IBUS_FRAME_LEN) {
			ibus_process_frame();
			rx_idx = 0;
		}
	}
}

int ibus_init(const struct device *uart_dev)
{
	if (!device_is_ready(uart_dev)) {
		LOG_ERR("iBUS UART device is not ready");
		return -ENODEV;
	}

	/* Initialize channels to center position */
	for (int i = 0; i < IBUS_MAX_CHANNELS; i++) {
		channels[i] = IBUS_CHANNEL_CENTER;
	}

	rx_idx = 0;
	last_valid_frame_time = 0;

	/* Configure UART interrupt-driven RX */
	uart_irq_callback_set(uart_dev, ibus_uart_isr);
	uart_irq_rx_enable(uart_dev);

	LOG_INF("iBUS receiver initialized on %s", uart_dev->name);
	return 0;
}

uint16_t ibus_channel(uint8_t ch)
{
	if (ch >= IBUS_MAX_CHANNELS) {
		return IBUS_CHANNEL_CENTER;
	}

	return channels[ch];
}

bool ibus_is_active(void)
{
	if (last_valid_frame_time == 0) {
		return false;
	}

	return (k_uptime_get() - last_valid_frame_time) < IBUS_TIMEOUT_MS;
}
```

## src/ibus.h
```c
/*
 * ibus.h - FlySky iBUS serial RC protocol driver
 *
 * Provides interrupt-driven reception of iBUS frames on a UART device.
 * Each frame carries up to 14 RC channels (1000-2000 range).
 */

#ifndef IBUS_H_
#define IBUS_H_

#include <zephyr/device.h>
#include <stdbool.h>
#include <stdint.h>

/* Maximum number of channels in an iBUS frame */
#define IBUS_MAX_CHANNELS 14

/**
 * @brief Initialize the iBUS receiver on the given UART device.
 *
 * Configures interrupt-driven RX and begins frame reception.
 *
 * @param uart_dev Pointer to the UART device (must support interrupt-driven API).
 * @return 0 on success, negative errno on failure.
 */
int ibus_init(const struct device *uart_dev);

/**
 * @brief Get the current value of an iBUS channel.
 *
 * @param ch Channel index (0-based, 0 = CH1, up to 13 = CH14).
 * @return Channel value in the range 1000-2000, or 1500 (center) if
 *         the channel index is out of range or no valid frame has been received.
 */
uint16_t ibus_channel(uint8_t ch);

/**
 * @brief Check if the iBUS receiver is actively receiving valid frames.
 *
 * @return true if a valid frame was received within the last 500ms.
 */
bool ibus_is_active(void);

#endif /* IBUS_H_ */
```

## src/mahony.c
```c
/*
 * mahony.c - Flight control Mahony 9-axis AHRS filter
 */

#include "mahony.h"
#include <math.h>

#if IS_ENABLED(CONFIG_CMSIS_DSP)
#include <arm_math.h>
#endif

float q0 = 1.0f, q1 = 0.0f, q2 = 0.0f, q3 = 0.0f;
float eIntX = 0.0f, eIntY = 0.0f, eIntZ = 0.0f;

static inline float my_sqrt(float val)
{
#if IS_ENABLED(CONFIG_CMSIS_DSP)
    float res;
    arm_sqrt_f32(val, &res);
    return res;
#else
    return sqrtf(val);
#endif
}

void mahony_reset(void)
{
    q0 = 1.0f; q1 = 0.0f; q2 = 0.0f; q3 = 0.0f;
    eIntX = 0.0f; eIntY = 0.0f; eIntZ = 0.0f;
}

void mahony_update(float gx, float gy, float gz, float ax, float ay, float az, float mx, float my, float mz, float dt)
{
    float recipNorm;
    float vx, vy, vz;
    float ex = 0.0f, ey = 0.0f, ez = 0.0f;
    float qa, qb, qc;

    // Normalise accelerometer measurement
    float norm = my_sqrt(ax * ax + ay * ay + az * az);
    if (norm > 0.0f) {
        recipNorm = 1.0f / norm;
        ax *= recipNorm;
        ay *= recipNorm;
        az *= recipNorm;

        // Estimated direction of gravity
        vx = 2.0f * (q1 * q3 - q0 * q2);
        vy = 2.0f * (q0 * q1 + q2 * q3);
        vz = q0 * q0 - q1 * q1 - q2 * q2 + q3 * q3;

        // Error is cross product between estimated direction and measured direction of gravity
        ex = (ay * vz - az * vy);
        ey = (az * vx - ax * vz);
        ez = (ax * vy - ay * vx);
    }

#if IS_ENABLED(CONFIG_MAGNETOMETER_ENABLED)
    // Normalise magnetometer measurement
    float mag_norm = my_sqrt(mx * mx + my * my + mz * mz);
    if (mag_norm > 0.0f) {
        recipNorm = 1.0f / mag_norm;
        mx *= recipNorm;
        my *= recipNorm;
        mz *= recipNorm;

        // Reference direction of Earth's magnetic field in body frame
        float hx = mx * (q0*q0 + q1*q1 - q2*q2 - q3*q3) + 2.0f * my * (q1*q2 - q0*q3) + 2.0f * mz * (q1*q3 + q0*q2);
        float hy = 2.0f * mx * (q1*q2 + q0*q3) + my * (q0*q0 - q1*q1 + q2*q2 - q3*q3) + 2.0f * mz * (q2*q3 - q0*q1);
        float bx = my_sqrt(hx * hx + hy * hy);
        float bz = 2.0f * mx * (q1*q3 - q0*q2) + 2.0f * my * (q2*q3 + q0*q1) + mz * (q0*q0 - q1*q1 - q2*q2 + q3*q3);

        // Estimated direction of magnetic field in body frame
        float wx = bx * (q0*q0 + q1*q1 - q2*q2 - q3*q3) + bz * 2.0f * (q1*q3 - q0*q2);
        float wy = bx * 2.0f * (q1*q2 - q0*q3) + bz * 2.0f * (q2*q3 + q0*q1);
        float wz = bx * 2.0f * (q1*q3 + q0*q2) + bz * (q0*q0 - q1*q1 - q2*q2 + q3*q3);

        // Error is cross product between estimated direction and measured direction of magnetic field
        ex += (my * wz - mz * wy);
        ey += (mz * wx - mx * wz);
        ez += (mx * wy - my * wx);
    }
#endif

    // Compute and apply integral feedback if enabled
    if (ex != 0.0f || ey != 0.0f || ez != 0.0f) {
        if (MAHONY_KI > 0.0f) {
            eIntX += ex * dt;
            eIntY += ey * dt;
            eIntZ += ez * dt;
            gx += MAHONY_KI * eIntX;
            gy += MAHONY_KI * eIntY;
            gz += MAHONY_KI * eIntZ;
        } else {
            eIntX = 0.0f;
            eIntY = 0.0f;
            eIntZ = 0.0f;
        }

        // Apply proportional feedback
        gx += MAHONY_KP * ex;
        gy += MAHONY_KP * ey;
        gz += MAHONY_KP * ez;
    }

    // Integrate rate of change of quaternion
    qa = q0;
    qb = q1;
    qc = q2;
    q0 += (-qb * gx - qc * gy - q3 * gz) * (0.5f * dt);
    q1 += (qa * gx + qc * gz - q3 * gy) * (0.5f * dt);
    q2 += (qa * gy - qb * gz + q3 * gx) * (0.5f * dt);
    q3 += (qa * gz + qb * gy - qc * gx) * (0.5f * dt);

    // Normalise quaternion
    norm = my_sqrt(q0 * q0 + q1 * q1 + q2 * q2 + q3 * q3);
    if (norm > 0.0f) {
        recipNorm = 1.0f / norm;
        q0 *= recipNorm;
        q1 *= recipNorm;
        q2 *= recipNorm;
        q3 *= recipNorm;
    }
}

#ifndef M_PI
#define M_PI 3.14159265358979323846f
#endif



void mahony_get_euler(float *roll, float *pitch)
{
    *roll  = atan2f(2.0f * (q0 * q1 + q2 * q3), q0 * q0 - q1 * q1 - q2 * q2 + q3 * q3) * (180.0f / M_PI);
    float sinp = 2.0f * (q0 * q2 - q1 * q3);
    sinp = CLAMP(sinp, -1.0f, 1.0f);
    *pitch = asinf(sinp) * (180.0f / M_PI);
}
```

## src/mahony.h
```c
/*
 * mahony.h - Flight control Mahony 9-axis AHRS filter
 */

#ifndef MAHONY_H_
#define MAHONY_H_

#include <zephyr/kernel.h>

#define MAHONY_KP 2.0f
#define MAHONY_KI 0.005f

extern float q0, q1, q2, q3;
extern float eIntX, eIntY, eIntZ;

void mahony_update(float gx, float gy, float gz, float ax, float ay, float az, float mx, float my, float mz, float dt);
void mahony_get_euler(float *roll, float *pitch);
void mahony_reset(void);

#endif /* MAHONY_H_ */
```

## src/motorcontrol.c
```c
#include "motorcontrol.h"
/*
 * Copyright (c) 2016 Intel Corporation
 * Copyright (c) 2020 Nordic Semiconductor ASA
 *
 * SPDX-License-Identifier: Apache-2.0
 */

/**
 * @file Sample app to demonstrate PWM-based LED fade
 */

#define PWM_LED0_NODE	DT_ALIAS(pwm_led0)

#if DT_NODE_HAS_STATUS(PWM_LED0_NODE, okay)
#define PWM_LABEL	DT_PWMS_LABEL(PWM_LED0_NODE)
#define PWM_CHANNEL	DT_PWMS_CHANNEL(PWM_LED0_NODE)
#define PWM_FLAGS	DT_PWMS_FLAGS(PWM_LED0_NODE)
#else
#error "Unsupported board: pwm-led0 devicetree alias is not defined"
#define PWM_LABEL	""
#define PWM_CHANNEL	0
#define PWM_FLAGS	0
#endif

/*
 * This period should be fast enough to be above the flicker fusion
 * threshold. The steps should also be small enough, and happen
 * quickly enough, to make the output fade change appear continuous.
 */
#define PERIOD_USEC	20000U
#define NUM_STEPS	50U
#define STEP_USEC	(PERIOD_USEC / NUM_STEPS)
#define SLEEP_MSEC	25U

void RunMotorControl(void)
{
	const struct device *pwm;
	uint32_t pulse_width = 0U;
	uint8_t dir = 1U;
	int ret;

	printk("PWM-based LED fade\n");

	pwm = device_get_binding(PWM_LABEL);
	if (!pwm) {
		printk("Error: didn't find %s device\n", PWM_LABEL);
		return;
	}

	while (1) {
		ret = pwm_pin_set_usec(pwm, PWM_CHANNEL, PERIOD_USEC,
				       pulse_width, PWM_FLAGS);
		if (ret) {
			printk("Error %d: failed to set pulse width\n", ret);
			return;
		}

		if (dir) {
			pulse_width += STEP_USEC;
			if (pulse_width >= PERIOD_USEC) {
				pulse_width = PERIOD_USEC - STEP_USEC;
				dir = 0U;
			}
		} else {
			if (pulse_width >= STEP_USEC) {
				pulse_width -= STEP_USEC;
			} else {
				pulse_width = STEP_USEC;
				dir = 1U;
			}
		}

		k_sleep(K_MSEC(SLEEP_MSEC));
	}
}
```

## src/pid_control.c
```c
/*
 * pid_control.c - Flight control PID controller module
 */

#include "pid_control.h"

#if !IS_ENABLED(CONFIG_CMSIS_DSP)
void pid_init(pid_controller_t *pid, float kp, float ki, float kd, float dt, float output_limit)
{
    pid->kp = kp;
    pid->ki = ki;
    pid->kd = kd;
    pid->integrator = 0.0f;
    pid->last_error = 0.0f;
    pid->output_limit = output_limit;
}

float pid_update(pid_controller_t *pid, float target, float current, float dt)
{
    float error = target - current;
    pid->integrator += error * dt;

    if (pid->output_limit > 0.0f) {
        if (pid->integrator > pid->output_limit) {
            pid->integrator = pid->output_limit;
        } else if (pid->integrator < -pid->output_limit) {
            pid->integrator = -pid->output_limit;
        }
    }

    float derivative = (error - pid->last_error) / dt;
    pid->last_error = error;

    float output = (pid->kp * error) + (pid->ki * pid->integrator) + (pid->kd * derivative);

    if (pid->output_limit > 0.0f) {
        if (output > pid->output_limit) {
            output = pid->output_limit;
        } else if (output < -pid->output_limit) {
            output = -pid->output_limit;
        }
    }

    return output;
}
#endif
```
